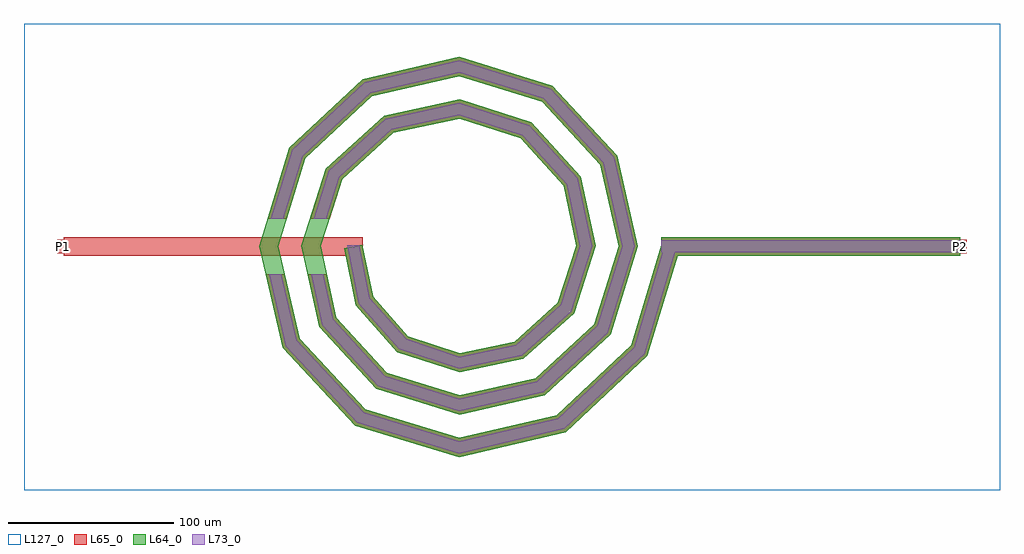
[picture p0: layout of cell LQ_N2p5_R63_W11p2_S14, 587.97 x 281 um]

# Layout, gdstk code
import gdstk
lib = gdstk.Library(unit=1e-6, precision=1e-09)
def R(c, l, rs):  # rectangles x0, y0, x1, y1
    for r in rs: c.add(gdstk.rectangle(r[:2], r[2:], *l))
def P(c, l, *ps):  # polygons
    for p in ps: c.add(gdstk.Polygon(p, *l))
L64_0 = (64, 0)
L65_0 = (65, 0)
L73_0 = (73, 0)
L127_0 = (127, 0)

lq_n2p5_r63_w11p2_s14 = lib.new_cell('LQ_N2p5_R63_W11p2_S14')
R(lq_n2p5_r63_w11p2_s14, L64_0, [(121.848,-5.6,301.848,5.6)])
P(lq_n2p5_r63_w11p2_s14, L64_0, [(-51.839,-30.332),(-30.799,-54.021),(0.327,-64.307),(33.491,-57.372),(59.524,-34.01),(70.678,0.3),(62.902,36.654),(37.216,65.03),(0.277,77.049),(-39.821,68.431),(-70.537,40.42),(-83.421,0.257),(-73.958,-42.99),(-43.622,-76.046),(0.24,-89.793),(46.162,-79.485),(81.557,-46.821),(96.165,0.225),(85.01,49.335),(50.019,87.068),(0.212,102.537),(-52.51,90.535),(-92.58,53.216),(-108.909,0.2),(-96.059,-55.687),(-56.411,-98.093),(0.19,-115.281),(58.864,-101.582),(103.607,-59.606),(122.087,1.618),(132.809,-1.618),(113.461,-65.718),(64.336,-111.806),(0.19,-126.871),(-62.54,-107.937),(-106.292,-61.141),(-120.498,0.2),(-102.413,59.364),(-57.945,100.779),(0.212,114.125),(56.188,96.887),(95.266,54.747),(107.752,0.225),(91.362,-53.013),(51.548,-89.754),(0.24,-101.379),(-49.84,-85.835),(-84.243,-48.348),(-95.006,0.257),(-80.306,46.669),(-45.145,78.733),(0.277,88.633),(43.501,74.777),(73.225,41.939),(82.26,0.3),(69.245,-40.335),(38.73,-67.718),(0.327,-75.886),(-37.173,-63.71),(-62.214,-35.517),(-69.212,-1.116),(-58.236,1.116)])
R(lq_n2p5_r63_w11p2_s14, L65_0, [(-238.124,-5.6,-58.124,5.6), (121.848,-5.6,301.848,5.6), (-242.124,-4,-234.124,4), (297.848,-4,305.848,4)])
P(lq_n2p5_r63_w11p2_s14, L65_0, [(-96.059,-55.687),(-56.411,-98.093),(0.19,-115.281),(58.864,-101.582),(103.607,-59.606),(122.087,1.618),(132.809,-1.618),(113.461,-65.718),(64.336,-111.806),(0.19,-126.871),(-62.54,-107.937),(-106.292,-61.141),(-116.561,-16.8),(-105.064,-16.8)],
  [(-73.958,-42.99),(-43.622,-76.046),(0.24,-89.793),(46.162,-79.485),(81.557,-46.821),(96.165,0.225),(85.01,49.335),(50.019,87.068),(0.212,102.537),(-52.51,90.535),(-92.58,53.216),(-103.712,16.8),(-115.424,16.8),(-102.413,59.364),(-57.945,100.779),(0.212,114.125),(56.188,96.887),(95.266,54.747),(107.752,0.225),(91.362,-53.013),(51.548,-89.754),(0.24,-101.379),(-49.84,-85.835),(-84.243,-48.348),(-91.229,-16.8),(-79.758,-16.8)],
  [(-30.799,-54.021),(0.328,-64.307),(33.491,-57.372),(59.524,-34.01),(70.678,0.3),(62.902,36.654),(37.216,65.03),(0.277,77.049),(-39.821,68.431),(-70.537,40.42),(-78.018,16.8),(-89.767,16.8),(-80.306,46.669),(-45.145,78.733),(0.277,88.633),(43.501,74.777),(73.225,41.939),(82.26,0.3),(69.245,-40.335),(38.73,-67.718),(0.328,-75.886),(-37.173,-63.71),(-62.214,-35.517),(-69.212,-1.116),(-58.236,1.116),(-51.839,-30.332)])
R(lq_n2p5_r63_w11p2_s14, L73_0, [(121.848,-3.6,301.848,3.6)])
P(lq_n2p5_r63_w11p2_s14, L73_0, [(-97.886,-56.661),(-57.506,-99.851),(0.122,-117.35),(59.841,-103.408),(105.366,-60.697),(124.002,1.04),(130.895,-1.04),(111.701,-64.627),(63.359,-109.98),(0.122,-124.801),(-61.446,-106.179),(-104.465,-60.167),(-114.508,-16.8),(-107.117,-16.8)],
  [(-75.795,-43.947),(-44.732,-77.794),(0.155,-91.862),(47.124,-81.319),(83.308,-47.927),(98.234,0.145),(86.842,50.302),(51.121,88.822),(0.136,104.606),(-53.481,92.364),(-94.336,54.314),(-105.803,16.8),(-113.332,16.8),(-100.657,58.266),(-56.974,98.95),(0.136,112.056),(55.086,95.134),(93.435,53.781),(105.683,0.145),(89.611,-51.908),(50.586,-87.92),(0.155,-99.31),(-48.73,-84.087),(-82.407,-47.391),(-89.181,-16.8),(-81.806,-16.8)],
  [(-31.937,-55.751),(0.211,-66.375),(34.426,-59.219),(61.26,-35.139),(72.746,0.193),(64.746,37.598),(38.339,66.77),(0.178,79.118),(-40.771,70.271),(-72.282,41.536),(-80.116,16.8),(-87.669,16.8),(-78.562,45.553),(-44.194,76.894),(0.178,86.565),(42.379,73.036),(71.382,40.995),(80.192,0.193),(67.509,-39.206),(37.794,-65.871),(0.211,-73.818),(-36.035,-61.98),(-60.361,-34.591),(-67.252,0.718),(-60.196,0.718),(-53.692,-31.258)])
R(lq_n2p5_r63_w11p2_s14, L127_0, [(-262.124,-146.871,325.848,134.125)])
lq_n2p5_r63_w11p2_s14.add(gdstk.Label('P2', (301.848,0), layer=65, texttype=0))
lq_n2p5_r63_w11p2_s14.add(gdstk.Label('P1', (-238.124,0), layer=65, texttype=0))
lq_n2p5_r63_w11p2_s14.add(gdstk.Label('P2', (305.848,0), layer=145, texttype=0))
lq_n2p5_r63_w11p2_s14.add(gdstk.Label('P1', (-242.124,0), layer=145, texttype=0))

lib.write_gds('LQ_N2p5_R63_W11p2_S14.gds')
